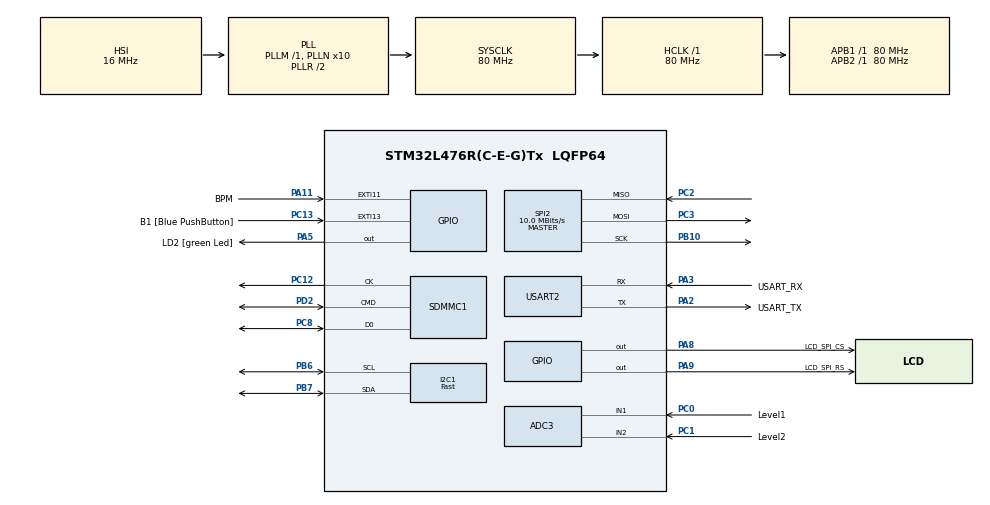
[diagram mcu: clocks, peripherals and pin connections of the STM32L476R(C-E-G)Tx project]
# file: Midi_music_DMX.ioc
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ADC3.Channel-0\#ChannelRegularConversion=ADC_CHANNEL_1
ADC3.NbrOfConversionFlag=1
ADC3.OffsetNumber-0\#ChannelRegularConversion=ADC_OFFSET_NONE
ADC3.Rank-0\#ChannelRegularConversion=1
ADC3.SamplingTime-0\#ChannelRegularConversion=ADC_SAMPLETIME_2CYCLES_5
I2C1.I2C_Speed_Mode=I2C_Fast
I2C1.Timing=0x00702991
Mcu.Family=STM32L4
Mcu.Name=STM32L476R(C-E-G)Tx
Mcu.Package=LQFP64
NVIC.EXTI15_10_IRQn=true\:1\:0\:true\:false\:true\:true\:true
NVIC.PriorityGroup=NVIC_PRIORITYGROUP_4
PA11.GPIO_Label=BPM
PA11.Signal=GPXTI11
PA13\ (JTMS-SWDIO).GPIO_Label=TMS
PA13\ (JTMS-SWDIO).Mode=Serial_Wire
PA13\ (JTMS-SWDIO).Signal=SYS_JTMS-SWDIO
PA14\ (JTCK-SWCLK).GPIO_Label=TCK
PA14\ (JTCK-SWCLK).Mode=Serial_Wire
PA14\ (JTCK-SWCLK).Signal=SYS_JTCK-SWCLK
PA2.GPIO_Label=USART_TX
PA2.GPIO_Mode=GPIO_MODE_AF_PP
PA2.GPIO_PuPd=GPIO_NOPULL
PA2.GPIO_Speed=GPIO_SPEED_FREQ_VERY_HIGH
PA2.Mode=Asynchronous
PA2.Signal=USART2_TX
PA3.GPIO_Label=USART_RX
PA3.GPIO_Mode=GPIO_MODE_AF_PP
PA3.GPIO_PuPd=GPIO_NOPULL
PA3.GPIO_Speed=GPIO_SPEED_FREQ_VERY_HIGH
PA3.Mode=Asynchronous
PA3.Signal=USART2_RX
PA5.GPIO_Label=LD2 [green Led]
PA5.GPIO_ModeDefaultOutputPP=GPIO_MODE_OUTPUT_PP
PA5.GPIO_PuPd=GPIO_NOPULL
PA5.GPIO_Speed=GPIO_SPEED_FREQ_LOW
PA5.Signal=GPIO_Output
PA8.GPIO_Label=LCD_SPI_CS
PA8.Signal=GPIO_Output
PA9.GPIO_Label=LCD_SPI_RS
PA9.Signal=GPIO_Output
PB10.Mode=Full_Duplex_Master
PB10.Signal=SPI2_SCK
PB3\ (JTDO-TRACESWO).GPIO_Label=SWO
PB3\ (JTDO-TRACESWO).Signal=SYS_JTDO-SWO
PB6.Mode=I2C
PB6.Signal=I2C1_SCL
PB7.Mode=I2C
PB7.Signal=I2C1_SDA
PC0.GPIO_Label=Level1
PC0.Signal=ADCx_IN1
PC1.GPIO_Label=Level2
PC1.Signal=ADCx_IN2
PC12.Mode=SD_1_bit
PC12.Signal=SDMMC1_CK
PC13.GPIO_Label=B1 [Blue PushButton]
PC13.GPIO_ModeDefaultEXTI=GPIO_MODE_IT_FALLING
PC13.GPIO_PuPd=GPIO_NOPULL
PC13.Signal=GPXTI13
PC14-OSC32_IN\ (PC14).Mode=LSE-External-Oscillator
PC14-OSC32_IN\ (PC14).Signal=RCC_OSC32_IN
PC15-OSC32_OUT\ (PC15).Mode=LSE-External-Oscillator
PC15-OSC32_OUT\ (PC15).Signal=RCC_OSC32_OUT
PC2.Mode=Full_Duplex_Master
PC2.Signal=SPI2_MISO
PC3.Mode=Full_Duplex_Master
PC3.Signal=SPI2_MOSI
PC8.Mode=SD_1_bit
PC8.Signal=SDMMC1_D0
PD2.Mode=SD_1_bit
PD2.Signal=SDMMC1_CMD
PH0-OSC_IN\ (PH0).Signal=RCC_OSC_IN
PH1-OSC_OUT\ (PH1).Signal=RCC_OSC_OUT
ProjectManager.HeapSize=0x200
ProjectManager.StackSize=0x400
ProjectManager.TargetToolchain=STM32CubeIDE
RCC.ADCFreq_Value=64000000
RCC.AHBFreq_Value=80000000
RCC.APB1Freq_Value=80000000
RCC.APB1TimFreq_Value=80000000
RCC.APB2Freq_Value=80000000
RCC.APB2TimFreq_Value=80000000
RCC.CortexFreq_Value=80000000
RCC.HCLKFreq_Value=80000000
RCC.HSE_VALUE=8000000
RCC.HSI_VALUE=16000000
RCC.MSI_VALUE=4000000
RCC.PLLN=10
RCC.PLLSAI1Q=RCC_PLLQ_DIV4
RCC.PLLSourceVirtual=RCC_PLLSOURCE_HSI
RCC.PREFETCH_ENABLE=1
RCC.SYSCLKFreq_VALUE=80000000
RCC.SYSCLKSource=RCC_SYSCLKSOURCE_PLLCLK
RCC.USART2CLockSelection=RCC_USART2CLKSOURCE_SYSCLK
RCC.USBFreq_Value=32000000
RCC.VCOOutputFreq_Value=160000000
SH.ADCx_IN1.0=ADC3_IN1,IN1-Single-Ended
SH.ADCx_IN2.0=ADC3_IN2,IN2-Single-Ended
SPI2.BaudRatePrescaler=SPI_BAUDRATEPRESCALER_8
SPI2.CalculateBaudRate=10.0 MBits/s
SPI2.DataSize=SPI_DATASIZE_8BIT
SPI2.Direction=SPI_DIRECTION_2LINES
SPI2.Mode=SPI_MODE_MASTER
SPI2.VirtualType=VM_MASTER
USART2.VirtualMode-Asynchronous=VM_ASYNC
VP_FATFS_VS_SDIO.Mode=SDIO
board=NUCLEO-L476RG

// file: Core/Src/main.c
/* USER CODE BEGIN Header */
/**
  ******************************************************************************
  * @file           : main.c
  * @brief          : Main program body
  ******************************************************************************
  * @attention
  *
  * <h2><center>&copy; Copyright (c) 2021 STMicroelectronics.
  * All rights reserved.</center></h2>
  *
  * This software component is licensed by ST under Ultimate Liberty license
  * SLA0044, the "License"; You may not use this file except in compliance with
  * the License. You may obtain a copy of the License at:
  *                             www.st.com/SLA0044
  *
  ******************************************************************************
  */
/* USER CODE END Header */
#include "main.h"
#include "fatfs.h"

ADC_HandleTypeDef hadc3;

I2C_HandleTypeDef hi2c1;

SD_HandleTypeDef hsd1;

SPI_HandleTypeDef hspi2;

UART_HandleTypeDef huart2;

void SystemClock_Config(void);
void PeriphCommonClock_Config(void);
static void MX_GPIO_Init(void);
static void MX_ADC3_Init(void);
static void MX_I2C1_Init(void);
static void MX_SDMMC1_SD_Init(void);
static void MX_SPI2_Init(void);
static void MX_USART2_UART_Init(void);

/* USER CODE BEGIN 0 */
#define     MIDI_NOTE_ON        0x90
#define     MIDI_NOTE_OFF       0x80
#define     NUM_KEYS_PER_ARRAY  16

#define     KEYB_ADRESS         0x70
#define     KEYB_TURN_ON        0x21
#define     KEYB_TURN_OFF       0x20

/* I2C Trellis Keyboard */
const uint8_t 		ledRow[16] = {8, 7, 7, 7, 6,  6, 5, 5,
                         3, 4, 3, 3, 2,  2, 2, 1};
const uint8_t 		ledLine[16] = {  4, 128, 32, 16,
                            1, 2, 8, 16,
                            64, 8, 2, 1,
                            64, 32, 16, 4};
const uint8_t 		butRow[16] = {   0, 0, 0, 2, 0, 0, 0, 0,
                            0, 1, 3, 2, 1, 1, 1, 3};
const uint8_t 		butLine[16] = {  128, 16, 4, 4,
                            32, 64, 1, 2,
                            8, 1, 1, 2,
                            8, 4, 2, 2};
const uint8_t 		noteTouch[4][16] = { {0x30, 0x31, 0x32, 0x33, 0x34, 0x35, 0x36, 0x37, 0x38, 0x39, 0x3A, 0x3B, 0x3C, 0x3D, 0x3E, 0x3F},
                                {0x30, 0x31, 0x32, 0x33, 0x34, 0x35, 0x36, 0x37, 0x38, 0x39, 0x3A, 0x3B, 0x3C, 0x3D, 0x3E, 0x3F},
                                {0x30, 0x31, 0x32, 0x33, 0x34, 0x35, 0x36, 0x37, 0x38, 0x39, 0x3A, 0x3B, 0x3C, 0x3D, 0x3E, 0x3F},
                                {0x30, 0x31, 0x32, 0x33, 0x34, 0x35, 0x36, 0x37, 0x38, 0x39, 0x3A, 0x3B, 0x3C, 0x3D, 0x3E, 0x3F}};

uint8_t 		led[4][16] = {0};
uint8_t         but[4][6] = {0};
uint8_t         cmd[20] = {0};

// Playing note function
void playNote(char note, char velocity){
	/*
    midi.putc(MIDI_NOTE_ON);
    midi.putc(note);
    midi.putc(velocity);
    */
}

// Stopping note function
void stopNote(char note, char velocity){
	/*
    midi.putc(MIDI_NOTE_OFF);
    midi.putc(note);
    midi.putc(velocity);
    */
}

// setLed
void setLed(uint8_t ld, uint8_t matrice){
    if((led[matrice][ledRow[ld]]&ledLine[ld]) == 0)
        led[matrice][ledRow[ld]] += ledLine[ld];
}

// clrLed
void clrLed(uint8_t ld, uint8_t matrice){
    if((led[matrice][ledRow[ld]]&ledLine[ld])-ledLine[ld] == 0)
        led[matrice][ledRow[ld]] -= ledLine[ld];
}

// isLedOn
char isLedOn(uint8_t ld, uint8_t matrice){
    if((led[matrice][ledRow[ld]]&ledLine[ld])-ledLine[ld] == 0)
        return 1;
    else
        return 0;
}

// clearAll
void clrAll(){
    for(int matrice = 0; matrice < 4; matrice++){
        for(int i = 0; i < 17; i++){
            cmd[i] = 0;
        }
        HAL_I2C_Master_Transmit(&hi2c1, (KEYB_ADRESS + matrice) << 1, cmd, 17, 100);
    }
}

// writeDisplay
void writeDisplay(uint8_t matrice){
    cmd[0] = 0;
    for(int i = 1; i < 17; i++){
        cmd[i] = led[matrice][i];
    }
    HAL_I2C_Master_Transmit(&hi2c1, (KEYB_ADRESS + matrice) << 1, cmd, 17, 100);
}

// readButton
void readButton(uint8_t matrice){
    cmd[0] = 0x40;
    uint8_t b[6] = {0};
    HAL_I2C_Master_Transmit(&hi2c1, (KEYB_ADRESS + matrice) << 1, cmd, 1, 100);
    HAL_I2C_Master_Receive(&hi2c1, (KEYB_ADRESS + matrice) << 1, b, 6, 100);
    for(int i = 0; i < 6; i++)
        but[matrice][i] = b[i];
    /*
    for(int i = 0; i < 6; i++){
        midi.printf("i=%d / dd = %d \r\n", i, but[i]);
    }
    */
}

void updateMatrix(void){
	HAL_GPIO_WritePin(LD2_GPIO_Port, LD2_Pin, GPIO_PIN_SET);
	for(uint8_t k = 0; k < 4; k++){
		readButton(k);
		for(int i = 0; i < 16; i++){
			if((but[k][butRow[i]]&butLine[i]) == butLine[i]){
				if(isLedOn(i,k)){
					clrLed(i,k);
					stopNote(noteTouch[k][i], 0x5F);
				}
				else{
					setLed(i,k);
					playNote(noteTouch[k][i], 0x5F);
				}
			}
		}
		writeDisplay(k);
	}
	HAL_GPIO_WritePin(LD2_GPIO_Port, LD2_Pin, GPIO_PIN_RESET);
}
/* USER CODE END 0 */

int main(void)
{
  /* USER CODE BEGIN 1 */
	uint8_t k;
  /* USER CODE END 1 */

  /* MCU Configuration--------------------------------------------------------*/

  /* Reset of all peripherals, Initializes the Flash interface and the Systick. */
  HAL_Init();

  /* Configure the system clock */
  SystemClock_Config();

/* Configure the peripherals common clocks */
  PeriphCommonClock_Config();

  /* Initialize all configured peripherals */
  MX_GPIO_Init();
  MX_ADC3_Init();
  MX_I2C1_Init();
  MX_SDMMC1_SD_Init();
  MX_SPI2_Init();
  MX_USART2_UART_Init();
  MX_FATFS_Init();
  /* USER CODE BEGIN 2 */
  HAL_UART_Transmit(&huart2, "Test\r\n", 6, 1000);
  HAL_GPIO_WritePin(LD2_GPIO_Port, LD2_Pin, GPIO_PIN_SET);

  cmd[0] = KEYB_TURN_ON;
  for(k = 0; k < 4; k++)
  	  HAL_I2C_Master_Transmit(&hi2c1, (KEYB_ADRESS + k) << 1, cmd, 1, 100);
  HAL_Delay(10);
  //midi.printf("TURN ON = %d\r\n", keyb_i2c);
  cmd[0] = 0xA1;  // Row/Int register -> Int (active low)
  for(k = 0; k < 4; k++)
  	  HAL_I2C_Master_Transmit(&hi2c1, (KEYB_ADRESS + k) << 1, cmd, 1, 100);
  HAL_Delay(10);
  // midi.printf("INT/ROW = %d\r\n", keyb_i2c);

  cmd[0] = 0xE0 | (6);		// Intensité lumineuse (0 a 15)
  for(k = 0; k < 4; k++)
  	  HAL_I2C_Master_Transmit(&hi2c1, (KEYB_ADRESS + k) << 1, cmd, 1, 100);
  // midi.printf("BRIGHT = %d\r\n", keyb_i2c);

  cmd[0] = 0x80 | 0b000 | 1;
  for(k = 0; k < 4; k++)
  	  HAL_I2C_Master_Transmit(&hi2c1, (KEYB_ADRESS + k) << 1, cmd, 1, 100);
  //midi.printf("BLINK = %d\r\n", keyb_i2c);
  clrAll();
  HAL_Delay(100);

  HAL_UART_Transmit(&huart2, "Init Stop\r\n", 11, 100);

  for(uint8_t i = 0; i < 16; i++){
	  for(k = 0; k < 4; k++){
		  setLed(i, k);
		  writeDisplay(k);
	  }
	  HAL_Delay(20);
  }

  HAL_Delay(100);
  clrAll();
  HAL_Delay(100);
  /* USER CODE END 2 */

  /* Infinite loop */
  while (1)
  {
	  updateMatrix();
	  HAL_Delay(200);
  }
}

void SystemClock_Config(void)
{
  RCC_OscInitTypeDef RCC_OscInitStruct = {0};
  RCC_ClkInitTypeDef RCC_ClkInitStruct = {0};

  /** Configure the main internal regulator output voltage
  */
  if (HAL_PWREx_ControlVoltageScaling(PWR_REGULATOR_VOLTAGE_SCALE1) != HAL_OK)
  {
    Error_Handler();
  }
  /** Initializes the RCC Oscillators according to the specified parameters
  * in the RCC_OscInitTypeDef structure.
  */
  RCC_OscInitStruct.OscillatorType = RCC_OSCILLATORTYPE_HSI;
  RCC_OscInitStruct.HSIState = RCC_HSI_ON;
  RCC_OscInitStruct.HSICalibrationValue = RCC_HSICALIBRATION_DEFAULT;
  RCC_OscInitStruct.PLL.PLLState = RCC_PLL_ON;
  RCC_OscInitStruct.PLL.PLLSource = RCC_PLLSOURCE_HSI;
  RCC_OscInitStruct.PLL.PLLM = 1;
  RCC_OscInitStruct.PLL.PLLN = 10;
  RCC_OscInitStruct.PLL.PLLP = RCC_PLLP_DIV7;
  RCC_OscInitStruct.PLL.PLLQ = RCC_PLLQ_DIV2;
  RCC_OscInitStruct.PLL.PLLR = RCC_PLLR_DIV2;
  if (HAL_RCC_OscConfig(&RCC_OscInitStruct) != HAL_OK)
  {
    Error_Handler();
  }
  /** Initializes the CPU, AHB and APB buses clocks
  */
  RCC_ClkInitStruct.ClockType = RCC_CLOCKTYPE_HCLK|RCC_CLOCKTYPE_SYSCLK
                              |RCC_CLOCKTYPE_PCLK1|RCC_CLOCKTYPE_PCLK2;
  RCC_ClkInitStruct.SYSCLKSource = RCC_SYSCLKSOURCE_PLLCLK;
  RCC_ClkInitStruct.AHBCLKDivider = RCC_SYSCLK_DIV1;
  RCC_ClkInitStruct.APB1CLKDivider = RCC_HCLK_DIV1;
  RCC_ClkInitStruct.APB2CLKDivider = RCC_HCLK_DIV1;

  if (HAL_RCC_ClockConfig(&RCC_ClkInitStruct, FLASH_LATENCY_4) != HAL_OK)
  {
    Error_Handler();
  }
}

void PeriphCommonClock_Config(void)
{
  RCC_PeriphCLKInitTypeDef PeriphClkInit = {0};

  /** Initializes the peripherals clock
  */
  PeriphClkInit.PeriphClockSelection = RCC_PERIPHCLK_SDMMC1|RCC_PERIPHCLK_ADC;
  PeriphClkInit.AdcClockSelection = RCC_ADCCLKSOURCE_PLLSAI1;
  PeriphClkInit.Sdmmc1ClockSelection = RCC_SDMMC1CLKSOURCE_PLLSAI1;
  PeriphClkInit.PLLSAI1.PLLSAI1Source = RCC_PLLSOURCE_HSI;
  PeriphClkInit.PLLSAI1.PLLSAI1M = 1;
  PeriphClkInit.PLLSAI1.PLLSAI1N = 8;
  PeriphClkInit.PLLSAI1.PLLSAI1P = RCC_PLLP_DIV7;
  PeriphClkInit.PLLSAI1.PLLSAI1Q = RCC_PLLQ_DIV4;
  PeriphClkInit.PLLSAI1.PLLSAI1R = RCC_PLLR_DIV2;
  PeriphClkInit.PLLSAI1.PLLSAI1ClockOut = RCC_PLLSAI1_48M2CLK|RCC_PLLSAI1_ADC1CLK;
  if (HAL_RCCEx_PeriphCLKConfig(&PeriphClkInit) != HAL_OK)
  {
    Error_Handler();
  }
}

static void MX_ADC3_Init(void)
{

  ADC_ChannelConfTypeDef sConfig = {0};

  /** Common config
  */
  hadc3.Instance = ADC3;
  hadc3.Init.ClockPrescaler = ADC_CLOCK_ASYNC_DIV1;
  hadc3.Init.Resolution = ADC_RESOLUTION_12B;
  hadc3.Init.DataAlign = ADC_DATAALIGN_RIGHT;
  hadc3.Init.ScanConvMode = ADC_SCAN_DISABLE;
  hadc3.Init.EOCSelection = ADC_EOC_SINGLE_CONV;
  hadc3.Init.LowPowerAutoWait = DISABLE;
  hadc3.Init.ContinuousConvMode = DISABLE;
  hadc3.Init.NbrOfConversion = 1;
  hadc3.Init.DiscontinuousConvMode = DISABLE;
  hadc3.Init.ExternalTrigConv = ADC_SOFTWARE_START;
  hadc3.Init.ExternalTrigConvEdge = ADC_EXTERNALTRIGCONVEDGE_NONE;
  hadc3.Init.DMAContinuousRequests = DISABLE;
  hadc3.Init.Overrun = ADC_OVR_DATA_PRESERVED;
  hadc3.Init.OversamplingMode = DISABLE;
  if (HAL_ADC_Init(&hadc3) != HAL_OK)
  {
    Error_Handler();
  }
  /** Configure Regular Channel
  */
  sConfig.Channel = ADC_CHANNEL_1;
  sConfig.Rank = ADC_REGULAR_RANK_1;
  sConfig.SamplingTime = ADC_SAMPLETIME_2CYCLES_5;
  sConfig.SingleDiff = ADC_SINGLE_ENDED;
  sConfig.OffsetNumber = ADC_OFFSET_NONE;
  sConfig.Offset = 0;
  if (HAL_ADC_ConfigChannel(&hadc3, &sConfig) != HAL_OK)
  {
    Error_Handler();
  }

}

static void MX_I2C1_Init(void)
{

  hi2c1.Instance = I2C1;
  hi2c1.Init.Timing = 0x00702991;
  hi2c1.Init.OwnAddress1 = 0;
  hi2c1.Init.AddressingMode = I2C_ADDRESSINGMODE_7BIT;
  hi2c1.Init.DualAddressMode = I2C_DUALADDRESS_DISABLE;
  hi2c1.Init.OwnAddress2 = 0;
  hi2c1.Init.OwnAddress2Masks = I2C_OA2_NOMASK;
  hi2c1.Init.GeneralCallMode = I2C_GENERALCALL_DISABLE;
  hi2c1.Init.NoStretchMode = I2C_NOSTRETCH_DISABLE;
  if (HAL_I2C_Init(&hi2c1) != HAL_OK)
  {
    Error_Handler();
  }
  /** Configure Analogue filter
  */
  if (HAL_I2CEx_ConfigAnalogFilter(&hi2c1, I2C_ANALOGFILTER_ENABLE) != HAL_OK)
  {
    Error_Handler();
  }
  /** Configure Digital filter
  */
  if (HAL_I2CEx_ConfigDigitalFilter(&hi2c1, 0) != HAL_OK)
  {
    Error_Handler();
  }

}

static void MX_SDMMC1_SD_Init(void)
{

  hsd1.Instance = SDMMC1;
  hsd1.Init.ClockEdge = SDMMC_CLOCK_EDGE_RISING;
  hsd1.Init.ClockBypass = SDMMC_CLOCK_BYPASS_DISABLE;
  hsd1.Init.ClockPowerSave = SDMMC_CLOCK_POWER_SAVE_DISABLE;
  hsd1.Init.BusWide = SDMMC_BUS_WIDE_1B;
  hsd1.Init.HardwareFlowControl = SDMMC_HARDWARE_FLOW_CONTROL_DISABLE;
  hsd1.Init.ClockDiv = 0;

}

static void MX_SPI2_Init(void)
{

  /* SPI2 parameter configuration*/
  hspi2.Instance = SPI2;
  hspi2.Init.Mode = SPI_MODE_MASTER;
  hspi2.Init.Direction = SPI_DIRECTION_2LINES;
  hspi2.Init.DataSize = SPI_DATASIZE_8BIT;
  hspi2.Init.CLKPolarity = SPI_POLARITY_LOW;
  hspi2.Init.CLKPhase = SPI_PHASE_1EDGE;
  hspi2.Init.NSS = SPI_NSS_SOFT;
  hspi2.Init.BaudRatePrescaler = SPI_BAUDRATEPRESCALER_8;
  hspi2.Init.FirstBit = SPI_FIRSTBIT_MSB;
  hspi2.Init.TIMode = SPI_TIMODE_DISABLE;
  hspi2.Init.CRCCalculation = SPI_CRCCALCULATION_DISABLE;
  hspi2.Init.CRCPolynomial = 7;
  hspi2.Init.CRCLength = SPI_CRC_LENGTH_DATASIZE;
  hspi2.Init.NSSPMode = SPI_NSS_PULSE_ENABLE;
  if (HAL_SPI_Init(&hspi2) != HAL_OK)
  {
    Error_Handler();
  }

}

static void MX_USART2_UART_Init(void)
{

  huart2.Instance = USART2;
  huart2.Init.BaudRate = 115200;
  huart2.Init.WordLength = UART_WORDLENGTH_8B;
  huart2.Init.StopBits = UART_STOPBITS_1;
  huart2.Init.Parity = UART_PARITY_NONE;
  huart2.Init.Mode = UART_MODE_TX_RX;
  huart2.Init.HwFlowCtl = UART_HWCONTROL_NONE;
  huart2.Init.OverSampling = UART_OVERSAMPLING_16;
  huart2.Init.OneBitSampling = UART_ONE_BIT_SAMPLE_DISABLE;
  huart2.AdvancedInit.AdvFeatureInit = UART_ADVFEATURE_NO_INIT;
  if (HAL_UART_Init(&huart2) != HAL_OK)
  {
    Error_Handler();
  }

}

static void MX_GPIO_Init(void)
{
  GPIO_InitTypeDef GPIO_InitStruct = {0};

  /* GPIO Ports Clock Enable */
  __HAL_RCC_GPIOC_CLK_ENABLE();
  __HAL_RCC_GPIOH_CLK_ENABLE();
  __HAL_RCC_GPIOA_CLK_ENABLE();
  __HAL_RCC_GPIOB_CLK_ENABLE();
  __HAL_RCC_GPIOD_CLK_ENABLE();

  /*Configure GPIO pin Output Level */
  HAL_GPIO_WritePin(GPIOA, LD2_Pin|LCD_SPI_CS_Pin|LCD_SPI_RS_Pin, GPIO_PIN_RESET);

  /*Configure GPIO pin : B1_Pin */
  GPIO_InitStruct.Pin = B1_Pin;
  GPIO_InitStruct.Mode = GPIO_MODE_IT_FALLING;
  GPIO_InitStruct.Pull = GPIO_NOPULL;
  HAL_GPIO_Init(B1_GPIO_Port, &GPIO_InitStruct);

  /*Configure GPIO pins : LD2_Pin LCD_SPI_CS_Pin LCD_SPI_RS_Pin */
  GPIO_InitStruct.Pin = LD2_Pin|LCD_SPI_CS_Pin|LCD_SPI_RS_Pin;
  GPIO_InitStruct.Mode = GPIO_MODE_OUTPUT_PP;
  GPIO_InitStruct.Pull = GPIO_NOPULL;
  GPIO_InitStruct.Speed = GPIO_SPEED_FREQ_LOW;
  HAL_GPIO_Init(GPIOA, &GPIO_InitStruct);

  /*Configure GPIO pin : BPM_Pin */
  GPIO_InitStruct.Pin = BPM_Pin;
  GPIO_InitStruct.Mode = GPIO_MODE_IT_RISING;
  GPIO_InitStruct.Pull = GPIO_NOPULL;
  HAL_GPIO_Init(BPM_GPIO_Port, &GPIO_InitStruct);

  /* EXTI interrupt init*/
  HAL_NVIC_SetPriority(EXTI15_10_IRQn, 1, 0);
  HAL_NVIC_EnableIRQ(EXTI15_10_IRQn);

}

void Error_Handler(void)
{
  __disable_irq();
  while (1)
  {
  }
}

/************************ (C) COPYRIGHT STMicroelectronics *****END OF FILE****/
